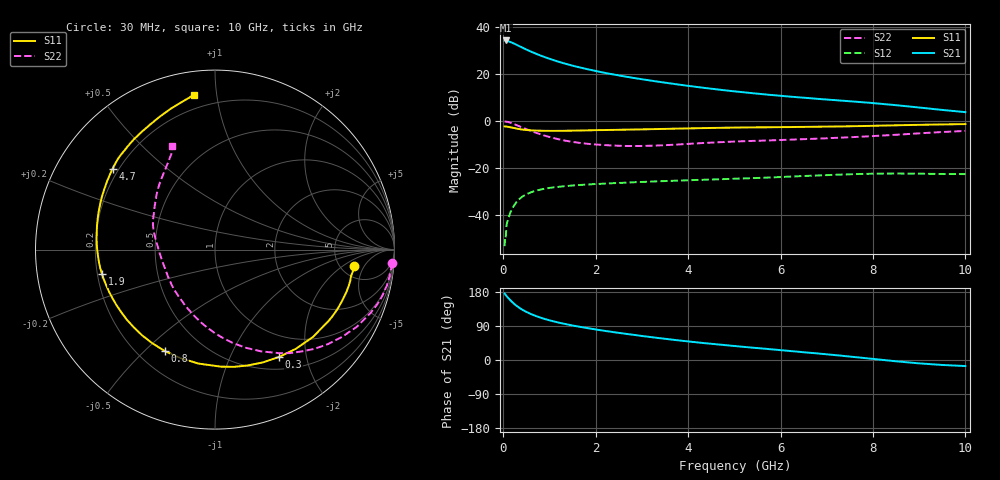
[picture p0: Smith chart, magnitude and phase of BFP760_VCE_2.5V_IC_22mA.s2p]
! Infineon Technologies  Discrete & RF Semiconductors
! BFP760
! VCE =  2.5 V,  IC =  22 mA
! Common Emitter S-Parameters:  Nov 2012
# GHz  S  MA  R  50
!  f  S11  S21  S12  S22
! GHz  MAG  ANG  MAG  ANG  MAG  ANG  MAG  ANG
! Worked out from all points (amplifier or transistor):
!   99 points, 30 MHz to 10 GHz, reference 50 ohm
!   highest |S21| = 34.4 dB at 50 MHz (marker M1)
!   |S21| within 3 dB of that: start of sweep to 409.2 MHz
!   unconditionally stable (mu >= 1): 4.575 GHz to end of sweep
!   at 350 MHz: K = 0.22, MSG = 32.5 dB, |S12| = -33.1 dB
!   at 3.5 GHz: K = 0.88, MSG = 20.9 dB, |S12| = -25.4 dB
!   at 10 GHz: K = 1.10, MAG = 11.3 dB, |S12| = -22.5 dB
!   S11 on the Smith chart (normalised r, x): 30 MHz: 6.62, -3.06; 300 MHz: 0.67, -1.55; 800 MHz: 0.31, -0.58; 1.9 GHz: 0.22, -0.10; 4.7 GHz: 0.18, +0.34; 10 GHz: 0.12, +0.87
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0.03  0.7793 -6.7  52.34 175.4  0.0022 83.5  0.9893 -4.4
0.05  0.772 -10.9  52.56 171.9  0.0031 101.8  0.9837 -7.2
0.11  0.7608 -23.9  50.61 163.4  0.0084 75.9  0.9631 -16.5
0.15  0.7473 -32.2  49.02 158.2  0.0112 74.0  0.9363 -22.1
0.2  0.7311 -41.8  46.66 152.2  0.0143 69.8  0.8994 -28.6
0.25  0.7131 -50.8  44.38 146.8  0.017 65.8  0.8587 -34.5
0.3  0.6965 -59.2  41.97 142.0  0.0198 62.9  0.8209 -39.9
0.4  0.671 -74.2  37.6 133.7  0.0244 57.1  0.7452 -49.6
0.5  0.6533 -87.0  33.73 127.0  0.028 51.8  0.6797 -58.1
0.6  0.6417 -98.3  30.46 121.3  0.0308 47.9  0.6226 -65.6
0.8  0.6305 -116.3  25.26 112.1  0.0351 41.7  0.5314 -78.9
1  0.627 -130.3  21.42 104.7  0.0382 37.3  0.4637 -90.4
1.2  0.6275 -141.5  18.5 98.7  0.0403 34.2  0.4145 -100.6
1.7  0.6377 -161.7  13.69 86.7  0.0444 29.7  0.3415 -122.1
1.9  0.6442 -167.9  12.37 82.6  0.0456 28.3  0.3262 -129.9
2.6  0.6623 174.7  9.107 69.9  0.0492 25.8  0.2995 -153.3
3.4  0.6864 159.3  6.861 57.4  0.053 24.0  0.3076 -175.3
4.7  0.7271 141.6  4.686 40.4  0.0586 22.2  0.3597 162.2
5.1  0.7373 137.9  4.244 35.8  0.0604 21.8  0.3738 157.7
6.7  0.7649 125.5  3.063 18.4  0.0697 19.1  0.4239 141.7
8.5  0.8225 107.5  2.204 -3.4  0.0774 9.7  0.5166 123.3
10  0.8719 97.7  1.567 -16.0  0.0753 5.9  0.6243 112.3
